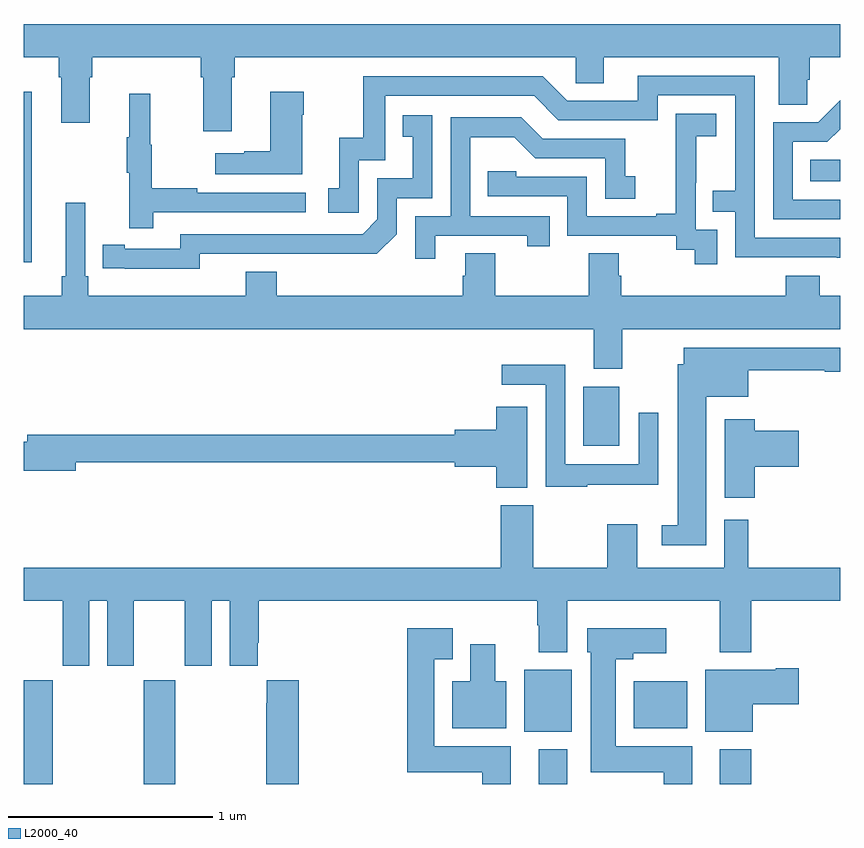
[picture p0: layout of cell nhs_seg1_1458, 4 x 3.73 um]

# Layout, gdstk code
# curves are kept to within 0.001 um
import gdstk
lib = gdstk.Library(unit=1e-6, precision=1e-09)
def R(c, l, rs):  # rectangles x0, y0, x1, y1
    for r in rs: c.add(gdstk.rectangle(r[:2], r[2:], *l))
def P(c, l, *ps):  # polygons
    for p in ps: c.add(gdstk.Polygon(p, *l))
L2000_40 = (2000, 40)

nhs_seg1_1458 = lib.new_cell('nhs_seg1_1458')
R(nhs_seg1_1458, L2000_40, [(191,520.199,191.142,520.708), (191.587,520.199,191.742,520.708), (193.523,520.199,193.663,520.369), (194.411,520.199,194.564,520.369), (193.451,520.454,193.684,520.759), (193.988,520.472,194.251,520.702), (193.742,521.858,193.918,522.145), (191,522.756,191.038,523.591), (194.854,523.154,195,523.258)])
P(nhs_seg1_1458, L2000_40, [(191,523.76),(191.171,523.76),(191.171,523.664),(191.183,523.664),(191.183,523.44),(191.323,523.44),(191.323,523.664),(191.336,523.664),(191.336,523.76),(191.867,523.76),(191.867,523.664),(191.879,523.664),(191.879,523.398),(192.019,523.398),(192.019,523.664),(192.032,523.664),(192.032,523.76),(193.704,523.76),(193.704,523.633),(193.843,523.633),(193.843,523.76),(194.699,523.76),(194.699,523.528),(194.838,523.528),(194.838,523.651),(194.852,523.651),(194.852,523.76),(195,523.76),(195,523.924),(191,523.924)],
  [(195,522.876),(194.583,522.876),(194.583,523.671),(194.009,523.671),(194.009,523.548),(193.662,523.548),(193.542,523.668),(192.663,523.668),(192.663,523.366),(192.545,523.366),(192.545,523.119),(192.492,523.119),(192.492,522.999),(192.642,522.999),(192.642,523.257),(192.771,523.257),(192.771,523.572),(193.5,523.572),(193.62,523.452),(194.106,523.452),(194.106,523.575),(194.487,523.575),(194.487,523.106),(194.377,523.106),(194.377,523.005),(194.487,523.005),(194.487,522.78),(195,522.779)],
  [(192.364,523.478),(192.372,523.478),(192.372,523.591),(192.206,523.591),(192.206,523.301),(192.08,523.301),(192.08,523.291),(191.937,523.291),(191.937,523.187),(192.364,523.187)],
  [(191.633,523.002),(192.382,523.002),(192.382,523.098),(191.849,523.098),(191.849,523.118),(191.626,523.118),(191.626,523.332),(191.618,523.332),(191.618,523.582),(191.516,523.582),(191.516,523.369),(191.505,523.369),(191.505,523.195),(191.516,523.195),(191.516,522.924),(191.633,522.924)],
  [(195,523.062),(194.769,523.062),(194.769,523.347),(194.938,523.347),(195,523.409),(195,523.551),(194.892,523.443),(194.673,523.443),(194.673,522.966),(195,522.966)],
  [(194.397,522.915),(194.292,522.915),(194.292,523.145),(194.294,523.145),(194.294,523.373),(194.392,523.373),(194.392,523.483),(194.194,523.483),(194.194,523.277),(194.195,523.277),(194.195,522.994),(194.099,522.994),(194.099,522.981),(193.758,522.981),(193.758,523.176),(193.413,523.176),(193.413,523.203),(193.273,523.203),(193.273,523.08),(193.662,523.08),(193.662,522.885),(194.196,522.885),(194.196,522.817),(194.289,522.817),(194.289,522.746),(194.397,522.746)],
  [(191.862,522.798),(192.73,522.797),(192.828,522.894),(192.828,523.071),(193.002,523.071),(193.002,523.477),(192.856,523.477),(192.856,523.371),(192.905,523.371),(192.905,523.167),(192.732,523.167),(192.732,522.966),(192.66,522.894),(191.766,522.894),(191.766,522.822),(191.494,522.822),(191.494,522.842),(191.386,522.842),(191.386,522.726),(191.862,522.725)],
  [(193.015,522.885),(193.466,522.885),(193.466,522.834),(193.577,522.834),(193.577,522.981),(193.188,522.981),(193.188,523.37),(193.402,523.37),(193.506,523.266),(193.848,523.266),(193.848,523.068),(193.996,523.068),(193.996,523.177),(193.947,523.177),(193.947,523.362),(193.543,523.362),(193.438,523.467),(193.092,523.467),(193.092,522.981),(192.918,522.981),(192.918,522.774),(193.015,522.774)],
  [(193.793,522.234),(193.933,522.234),(193.933,522.428),(195,522.428),(195,522.592),(194.9,522.592),(194.9,522.691),(194.735,522.691),(194.735,522.592),(193.928,522.592),(193.928,522.69),(193.915,522.69),(193.915,522.8),(193.768,522.8),(193.768,522.592),(193.311,522.592),(193.311,522.8),(193.163,522.8),(193.163,522.69),(193.151,522.69),(193.151,522.592),(192.239,522.592),(192.239,522.709),(192.086,522.709),(192.086,522.592),(191.315,522.592),(191.315,522.688),(191.301,522.688),(191.301,523.048),(191.204,523.048),(191.204,522.688),(191.185,522.688),(191.185,522.592),(191,522.592),(191,522.428),(193.793,522.428)],
  [(194.344,522.098),(194.551,522.098),(194.551,522.228),(194.926,522.228),(194.926,522.22),(195,522.22),(195,522.336),(194.447,522.336),(194.447,522.337),(194.234,522.337),(194.234,522.256),(194.204,522.256),(194.204,521.468),(194.127,521.468),(194.127,521.37),(194.344,521.37)],
  [(193.76,521.666),(194.109,521.666),(194.109,522.019),(194.013,522.019),(194.013,521.767),(193.653,521.767),(193.653,522.253),(193.341,522.253),(193.341,522.156),(193.557,522.156),(193.557,521.656),(193.76,521.656)],
  [(193.468,522.049),(193.316,522.049),(193.316,521.936),(193.112,521.936),(193.112,521.912),(191.015,521.912),(191.015,521.876),(191,521.876),(191,521.734),(191.254,521.734),(191.254,521.776),(193.112,521.776),(193.112,521.753),(193.316,521.753),(193.316,521.65),(193.468,521.65)],
  [(194.582,521.753),(194.797,521.753),(194.797,521.931),(194.582,521.931),(194.582,521.986),(194.435,521.986),(194.435,521.601),(194.582,521.601)],
  [(191.32,521.096),(191.408,521.096),(191.408,520.779),(191.539,520.779),(191.539,521.096),(191.789,521.096),(191.789,520.779),(191.92,520.779),(191.92,521.096),(192.008,521.096),(192.008,520.779),(192.145,520.779),(192.145,520.891),(192.152,520.891),(192.152,521.096),(193.516,521.096),(193.516,520.976),(193.523,520.976),(193.523,520.844),(193.663,520.844),(193.663,521.096),(194.411,521.096),(194.411,520.844),(194.564,520.844),(194.564,521.096),(195,521.096),(195,521.26),(194.551,521.26),(194.551,521.494),(194.432,521.494),(194.432,521.26),(194.005,521.26),(194.005,521.472),(193.858,521.472),(193.858,521.26),(193.497,521.26),(193.497,521.565),(193.337,521.565),(193.337,521.26),(191,521.26),(191,521.096),(191.189,521.096),(191.189,520.779),(191.32,520.779)],
  [(193.387,520.384),(193.012,520.384),(193.012,520.811),(193.102,520.811),(193.102,520.963),(192.878,520.963),(192.878,520.256),(193.247,520.256),(193.247,520.199),(193.387,520.199)],
  [(194.275,520.384),(193.9,520.384),(193.9,520.811),(193.987,520.811),(193.987,520.841),(194.149,520.841),(194.149,520.963),(193.76,520.963),(193.76,520.845),(193.778,520.845),(193.778,520.256),(194.135,520.256),(194.135,520.199),(194.275,520.199)],
  [(193.363,520.702),(193.309,520.702),(193.309,520.885),(193.187,520.885),(193.187,520.702),(193.1,520.702),(193.1,520.472),(193.363,520.472)],
  [(194.572,520.589),(194.797,520.589),(194.797,520.767),(194.684,520.767),(194.684,520.759),(194.339,520.759),(194.339,520.454),(194.572,520.454)],
  [(192.347,520.708),(192.191,520.708),(192.191,520.595),(192.187,520.595),(192.187,520.199),(192.347,520.199)])

lib.write_gds('nhs_seg1_1458.gds')
